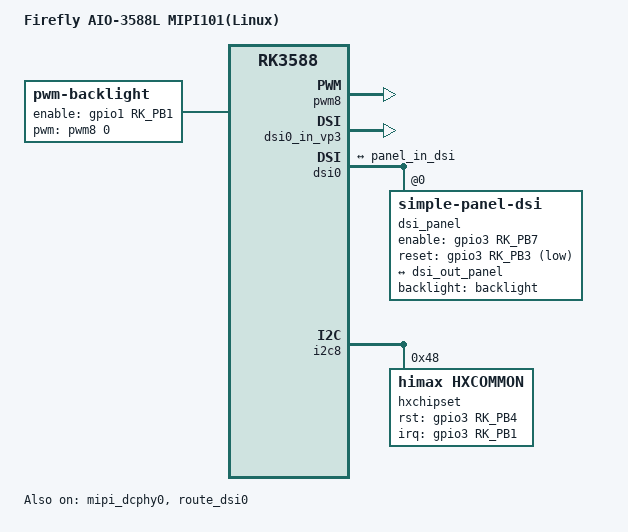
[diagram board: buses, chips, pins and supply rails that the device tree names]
// SPDX-License-Identifier: (GPL-2.0+ OR MIT)
/*
 * Copyright (c) 2021 Rockchip Electronics Co., Ltd.
 *
 */

/dts-v1/;

#include "aio-3588l.dtsi"
#include "aio-3588l-cam-8ms1m.dtsi"
#include "rk3588-firefly-demo.dtsi"

/ {
    model = "Firefly AIO-3588L MIPI101(Linux)";
    compatible = "rockchip,aio-3588l-mipi101-M101014-BE45-A1", "rockchip,rk3588";

    backlight: backlight {
        status = "okay";
        compatible = "pwm-backlight";
        enable-gpios = <&gpio1 RK_PB1 GPIO_ACTIVE_HIGH>;
        pwms = <&pwm8 0 50000 1>;
        brightness-levels = <
             60  60  60  61  61  61  62  62
             62  63  63  63  64  64  64  65
             65  65  66  66  66  67  67  67
             68  68  68  69  69  69  70  70
             70  71  71  71  72  72  72  73
             73  73  74  74  74  75  75  75
             76  76  76  77  77  77  78  78
             78  79  79  79  80  80  80  81
             81  81  82  82  82  83  83  83
             84  84  84  85  85  85  86  86
             86  87  87  87  88  88  88  89
             89  89  90  91  92  93  94  95
             96  97  98  99 100 101 102 103
            104 105 106 107 108 109 110 111
            112 113 114 115 116 117 118 119
            120 121 122 123 124 125 126 127
            128 129 130 131 132 133 134 135
            136 137 138 139 140 141 142 143
            144 145 146 147 148 149 150 151
            152 153 154 155 156 157 158 159
            160 161 162 163 164 165 166 167
            168 169 170 171 172 173 174 175
            176 177 178 179 180 181 182 183
            184 185 186 187 188 189 190 191
            192 193 194 195 196 197 198 199
            200 201 202 203 204 205 206 207
            208 209 210 211 212 213 214 215
            216 217 218 219 220 221 222 223
            224 225 226 227 228 229 230 231
            232 233 234 235 236 237 238 239
            240 241 242 243 244 245 246 247
            248 249 250 251 252 253 254 255
        >;
        default-brightness-level = <150>;
    };

};

&pwm8 {
    pinctrl-0 = <&pwm8m0_pins>;
    status = "okay";
};

/*
 * mipi_dcphy0 needs to be enabled
 * when dsi0 is enabled
 */
&mipi_dcphy0 {
    status = "okay";
};

&dsi0_in_vp2 {
    status = "disabled";
};

&dsi0_in_vp3 {
    status = "okay";
};

&route_dsi0 {
    status = "okay";
    connect = <&vp3_out_dsi0>;
};

&route_hdmi0{
    status = "disabled";
};

&dsi0 {
    firefly-check;
    status = "okay";
    //rockchip,lane-rate = <1000>;
    dsi_panel: panel@0 {
        status = "okay";
        compatible = "simple-panel-dsi";
        reg = <0>;
        backlight = <&backlight>;
        
        enable-gpios = <&gpio3 RK_PB7 GPIO_ACTIVE_HIGH>;
        reset-gpios = <&gpio3 RK_PB3 GPIO_ACTIVE_LOW>;

        enable-delay-ms = <50>;
        prepare-delay-ms = <200>;
        reset-delay-ms = <50>;
        init-delay-ms = <55>;
        unprepare-delay-ms = <50>;
        disable-delay-ms = <20>;
        mipi-data-delay-ms = <200>;
        size,width = <120>;
        size,height = <170>;
        dsi,flags = <(MIPI_DSI_MODE_VIDEO | MIPI_DSI_MODE_VIDEO_BURST | MIPI_DSI_MODE_LPM | MIPI_DSI_MODE_EOT_PACKET)>;
        dsi,format = <MIPI_DSI_FMT_RGB888>;
        dsi,lanes  = <4>;

        panel-init-sequence = [
            //39 00 04 B9 83 10 2E
            // 15 00 02 CF FF
            99 00 02 04 83
            05 78 01 11
            05 32 01 29
            //15 00 02 35 00
        ];

        panel-exit-sequence = [
            05 00 01 28
            05 00 01 10
        ];

        disp_timings0: display-timings {
            native-mode = <&dsi_timing0>;
            dsi_timing0: timing0 {
                clock-frequency = <72600000>;//<80000000>;
                hactive = <800>;//<768>;
                vactive = <1280>;
                hsync-len = <14>;   //20, 50,10
                hback-porch = <26>; //50, 56,10
                hfront-porch = <32>;//50, 30,180
                vsync-len = <8>;//4
                vback-porch = <20>;//4
                vfront-porch = <80>;//8
                hsync-active = <0>;
                vsync-active = <0>;
                de-active = <0>;
                pixelclk-active = <0>;
            };
        };

        ports {
            #address-cells = <1>;
            #size-cells = <0>;

            port@0 {
                reg = <0>;
                panel_in_dsi: endpoint {
                    remote-endpoint = <&dsi_out_panel>;
                };
            };
        };
    };

    ports {
        #address-cells = <1>;
        #size-cells = <0>;

        port@1 {
            reg = <1>;
            dsi_out_panel: endpoint {
            remote-endpoint = <&panel_in_dsi>;
            };
        };
    };
};

&i2c8{
    status = "okay";
    pinctrl-names = "default";
    pinctrl-0 = <&i2c8m4_xfer>;

    hxchipset@48{
        status = "okay";
        compatible = "himax,hxcommon";
        reg = <0x48>;

        himax,rst-gpio =  <&gpio3 RK_PB4 GPIO_ACTIVE_HIGH>;
        himax,irq-gpio = <&gpio3 RK_PB1 IRQ_TYPE_LEVEL_HIGH>;
        pinctrl-names = "default";
        pinctrl-0 = <&touch_int0>;

        himax,panel-coords = <0 800 0 1280>;      //触摸范围
        himax,display-coords = <0 800 0 1280>;    //分辨率
        report_type = <1>;
    };
};

&pinctrl {
    touch {
        touch_int0: touch-int0 {
            rockchip,pins = <3 RK_PB1 RK_FUNC_GPIO &pcfg_pull_up>;
        };
    };
};
